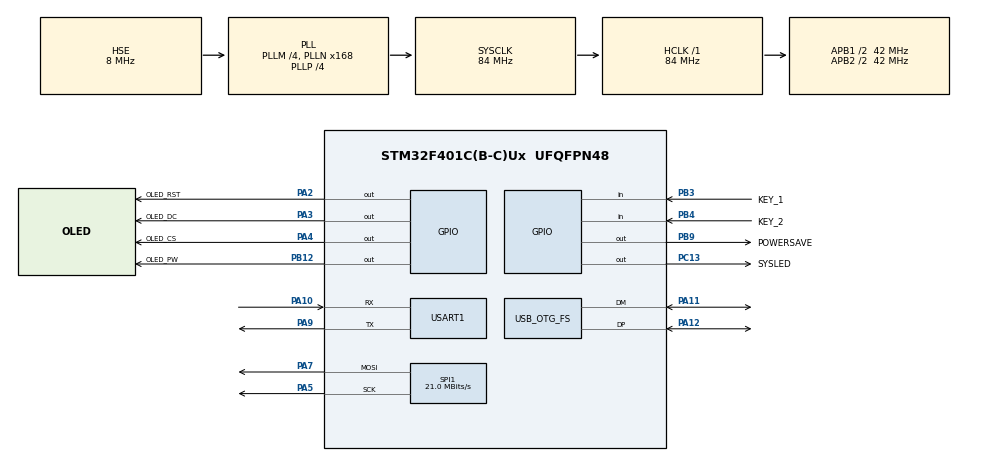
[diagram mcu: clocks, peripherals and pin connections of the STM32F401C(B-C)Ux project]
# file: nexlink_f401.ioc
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Dma.Request0=SPI1_TX
Dma.SPI1_TX.0.Direction=DMA_MEMORY_TO_PERIPH
Dma.SPI1_TX.0.FIFOMode=DMA_FIFOMODE_DISABLE
Dma.SPI1_TX.0.Instance=DMA2_Stream3
Dma.SPI1_TX.0.MemDataAlignment=DMA_MDATAALIGN_BYTE
Dma.SPI1_TX.0.MemInc=DMA_MINC_ENABLE
Dma.SPI1_TX.0.Mode=DMA_NORMAL
Dma.SPI1_TX.0.PeriphDataAlignment=DMA_PDATAALIGN_BYTE
Dma.SPI1_TX.0.PeriphInc=DMA_PINC_DISABLE
Dma.SPI1_TX.0.Priority=DMA_PRIORITY_LOW
Mcu.Family=STM32F4
Mcu.Name=STM32F401C(B-C)Ux
Mcu.Package=UFQFPN48
NVIC.DMA2_Stream3_IRQn=true\:0\:0\:false\:false\:true\:false\:true\:true
NVIC.OTG_FS_IRQn=true\:0\:0\:false\:false\:true\:true\:true\:true
NVIC.PriorityGroup=NVIC_PRIORITYGROUP_4
PA10.Mode=Asynchronous
PA10.Signal=USART1_RX
PA11.Mode=Device_Only
PA11.Signal=USB_OTG_FS_DM
PA12.Mode=Device_Only
PA12.Signal=USB_OTG_FS_DP
PA13.Mode=Serial_Wire
PA13.Signal=SYS_JTMS-SWDIO
PA14.Mode=Serial_Wire
PA14.Signal=SYS_JTCK-SWCLK
PA2.GPIO_Label=OLED_RST
PA2.GPIO_ModeDefaultOutputPP=GPIO_MODE_OUTPUT_PP
PA2.GPIO_PuPd=GPIO_PULLUP
PA2.GPIO_Speed=GPIO_SPEED_FREQ_LOW
PA2.PinState=GPIO_PIN_SET
PA2.Signal=GPIO_Output
PA3.GPIO_Label=OLED_DC
PA3.GPIO_ModeDefaultOutputPP=GPIO_MODE_OUTPUT_PP
PA3.GPIO_PuPd=GPIO_PULLUP
PA3.GPIO_Speed=GPIO_SPEED_FREQ_VERY_HIGH
PA3.PinState=GPIO_PIN_SET
PA3.Signal=GPIO_Output
PA4.GPIO_Label=OLED_CS
PA4.GPIO_ModeDefaultOutputPP=GPIO_MODE_OUTPUT_PP
PA4.GPIO_PuPd=GPIO_PULLUP
PA4.GPIO_Speed=GPIO_SPEED_FREQ_VERY_HIGH
PA4.PinState=GPIO_PIN_SET
PA4.Signal=GPIO_Output
PA5.Mode=TX_Only_Simplex_Unidirect_Master
PA5.Signal=SPI1_SCK
PA7.Mode=TX_Only_Simplex_Unidirect_Master
PA7.Signal=SPI1_MOSI
PA9.Mode=Asynchronous
PA9.Signal=USART1_TX
PB12.GPIO_Label=OLED_PW
PB12.GPIO_PuPd=GPIO_PULLUP
PB12.PinState=GPIO_PIN_SET
PB12.Signal=GPIO_Output
PB3.GPIO_Label=KEY_1
PB3.GPIO_Mode=GPIO_MODE_INPUT
PB3.GPIO_PuPd=GPIO_PULLDOWN
PB3.Signal=GPIO_Input
PB4.GPIO_Label=KEY_2
PB4.GPIO_Mode=GPIO_MODE_INPUT
PB4.GPIO_PuPd=GPIO_PULLDOWN
PB4.Signal=GPIO_Input
PB9.GPIO_Label=POWERSAVE
PB9.GPIO_PuPd=GPIO_PULLUP
PB9.PinState=GPIO_PIN_SET
PB9.Signal=GPIO_Output
PC13-ANTI_TAMP.GPIO_Label=SYSLED
PC13-ANTI_TAMP.GPIO_PuPd=GPIO_PULLUP
PC13-ANTI_TAMP.Signal=GPIO_Output
PC14-OSC32_IN.Mode=LSE-External-Oscillator
PC14-OSC32_IN.Signal=RCC_OSC32_IN
PC15-OSC32_OUT.Mode=LSE-External-Oscillator
PC15-OSC32_OUT.Signal=RCC_OSC32_OUT
PH0\ -\ OSC_IN.Mode=HSE-External-Oscillator
PH0\ -\ OSC_IN.Signal=RCC_OSC_IN
PH1\ -\ OSC_OUT.Mode=HSE-External-Oscillator
PH1\ -\ OSC_OUT.Signal=RCC_OSC_OUT
ProjectManager.HeapSize=0x500
ProjectManager.StackSize=0x100
ProjectManager.TargetToolchain=MDK-ARM V5.32
RCC.48MHZClocksFreq_Value=48000000
RCC.AHBFreq_Value=84000000
RCC.APB1CLKDivider=RCC_HCLK_DIV2
RCC.APB1Freq_Value=42000000
RCC.APB1TimFreq_Value=84000000
RCC.APB2CLKDivider=RCC_HCLK_DIV2
RCC.APB2Freq_Value=42000000
RCC.APB2TimFreq_Value=84000000
RCC.CortexFreq_Value=84000000
RCC.HCLKFreq_Value=84000000
RCC.HSE_VALUE=8000000
RCC.HSI_VALUE=16000000
RCC.PLLM=4
RCC.PLLN=168
RCC.PLLP=RCC_PLLP_DIV4
RCC.PLLQ=7
RCC.SYSCLKFreq_VALUE=84000000
RCC.SYSCLKSource=RCC_SYSCLKSOURCE_PLLCLK
RCC.VCOOutputFreq_Value=336000000
SPI1.CalculateBaudRate=21.0 MBits/s
SPI1.Direction=SPI_DIRECTION_2LINES
SPI1.Mode=SPI_MODE_MASTER
SPI1.VirtualType=VM_MASTER
USART1.VirtualMode=VM_ASYNC
USB_DEVICE.CLASS_NAME_FS=CDC
USB_DEVICE.VirtualMode=Cdc
USB_DEVICE.VirtualMode-CDC_FS=Cdc
USB_DEVICE.VirtualModeFS=Cdc_FS
USB_OTG_FS.VirtualMode=Device_Only
VP_USB_DEVICE_VS_USB_DEVICE_CDC_FS.Mode=CDC_FS
board=custom

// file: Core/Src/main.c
/* USER CODE BEGIN Header */
/**
  ******************************************************************************
  * @file           : main.c
  * @brief          : Main program body
  ******************************************************************************
  * @attention
  *
  * Copyright (c) 2024 STMicroelectronics.
  * All rights reserved.
  *
  * This software is licensed under terms that can be found in the LICENSE file
  * in the root directory of this software component.
  * If no LICENSE file comes with this software, it is provided AS-IS.
  *
  ******************************************************************************
  */
/* USER CODE END Header */
#include "main.h"
#include "dma.h"
#include "spi.h"
#include "usart.h"
#include "gpio.h"

/* USER CODE BEGIN Includes */
#include "usbd_def.h"
#include "usbd_desc.h"
#include "usbd_core.h"
#include "usbd_nex_link.h"
#include "nex_usb.h"
#include "stdio.h"
#include "queue.h"
#include "oled.h"
/* USER CODE END Includes */

/* USER CODE BEGIN PV */
USBD_HandleTypeDef hUSB;

/* USER CODE END PV */

void SystemClock_Config(void);

/* USER CODE BEGIN 0 */
int fputc(int ch, FILE *f) {
    HAL_UART_Transmit(&huart1, (uint8_t*)&ch, 1, HAL_MAX_DELAY);
    return ch;
}

nex_usb_des des = {
.brides = {
	.brightness = 300,
	.damp = 500
}

};
uint8_t grambuff[128*160*2];
/* USER CODE END 0 */

int main(void)
{
  /* USER CODE BEGIN 1 */
	int i = 0;
  /* USER CODE END 1 */

  /* MCU Configuration--------------------------------------------------------*/

  /* Reset of all peripherals, Initializes the Flash interface and the Systick. */
  HAL_Init();

  /* Configure the system clock */
  SystemClock_Config();

  /* Initialize all configured peripherals */
  MX_GPIO_Init();
  MX_USART1_UART_Init();
  MX_DMA_Init();
  MX_SPI1_Init();
  /* USER CODE BEGIN 2 */
	dbmsg("hello");

  USBD_Init(&hUSB, &FS_Desc, DEVICE_FS);
  USBD_RegisterClass(&hUSB, &USBD_NEX_LINK);
	USBD_NEX_LINK_Init(&hUSB, grambuff, &des);
  USBD_Start(&hUSB);
	Device_Init(grambuff);
  /* USER CODE END 2 */

  /* Infinite loop */
  while (1)
  {

    /* USER CODE BEGIN 3 */
//	Clear_Screen(i+=100);

		if(HAL_GPIO_ReadPin(KEY_1_GPIO_Port, KEY_1_Pin) == GPIO_PIN_SET)
		{
			HAL_GPIO_WritePin(POWERSAVE_GPIO_Port, POWERSAVE_Pin, GPIO_PIN_RESET);
		}
		USBD_NEX_LINK_Transmit(&hUSB, grambuff, 64);
		HAL_Delay(100);
  }
  /* USER CODE END 3 */
}

void SystemClock_Config(void)
{
  RCC_OscInitTypeDef RCC_OscInitStruct = {0};
  RCC_ClkInitTypeDef RCC_ClkInitStruct = {0};

  /** Configure the main internal regulator output voltage
  */
  __HAL_RCC_PWR_CLK_ENABLE();
  __HAL_PWR_VOLTAGESCALING_CONFIG(PWR_REGULATOR_VOLTAGE_SCALE2);

  /** Initializes the RCC Oscillators according to the specified parameters
  * in the RCC_OscInitTypeDef structure.
  */
  RCC_OscInitStruct.OscillatorType = RCC_OSCILLATORTYPE_HSE;
  RCC_OscInitStruct.HSEState = RCC_HSE_ON;
  RCC_OscInitStruct.PLL.PLLState = RCC_PLL_ON;
  RCC_OscInitStruct.PLL.PLLSource = RCC_PLLSOURCE_HSE;
  RCC_OscInitStruct.PLL.PLLM = 4;
  RCC_OscInitStruct.PLL.PLLN = 168;
  RCC_OscInitStruct.PLL.PLLP = RCC_PLLP_DIV4;
  RCC_OscInitStruct.PLL.PLLQ = 7;
  if (HAL_RCC_OscConfig(&RCC_OscInitStruct) != HAL_OK)
  {
    Error_Handler();
  }

  /** Initializes the CPU, AHB and APB buses clocks
  */
  RCC_ClkInitStruct.ClockType = RCC_CLOCKTYPE_HCLK|RCC_CLOCKTYPE_SYSCLK
                              |RCC_CLOCKTYPE_PCLK1|RCC_CLOCKTYPE_PCLK2;
  RCC_ClkInitStruct.SYSCLKSource = RCC_SYSCLKSOURCE_PLLCLK;
  RCC_ClkInitStruct.AHBCLKDivider = RCC_SYSCLK_DIV1;
  RCC_ClkInitStruct.APB1CLKDivider = RCC_HCLK_DIV2;
  RCC_ClkInitStruct.APB2CLKDivider = RCC_HCLK_DIV2;

  if (HAL_RCC_ClockConfig(&RCC_ClkInitStruct, FLASH_LATENCY_2) != HAL_OK)
  {
    Error_Handler();
  }
}

void Error_Handler(void)
{
  __disable_irq();
  while (1)
  {
  }
}
